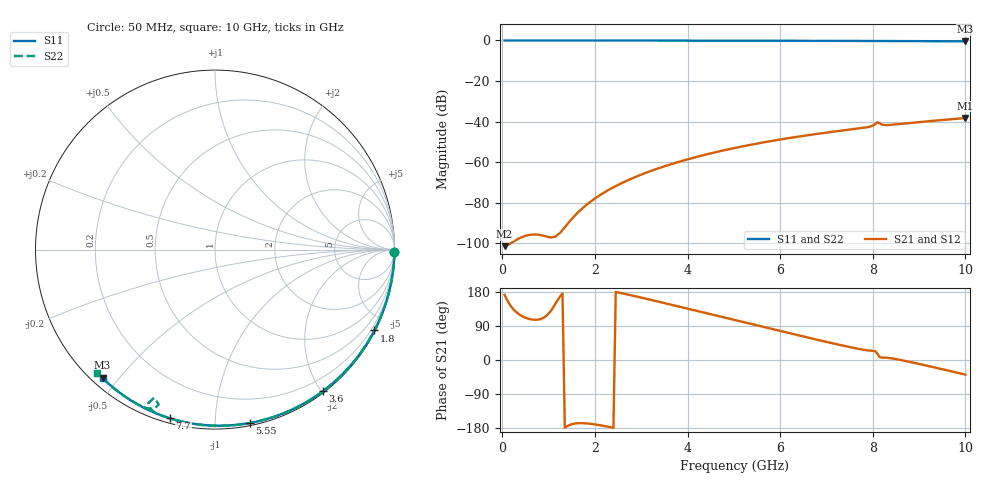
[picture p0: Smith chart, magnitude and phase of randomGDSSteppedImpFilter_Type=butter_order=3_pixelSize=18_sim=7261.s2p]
! freq	dB(S11)	phase(S11)	dB(S12)	phase(S12)
!  dB(S21)	phase(S21)	dB(S22)	phase(S22)
!S-par simulation data
#  GHz  S  DB  R 50
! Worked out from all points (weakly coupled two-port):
!   200 points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, 50 MHz to 10 GHz, reference 50 ohm
!   highest |S21| = -38.31 dB at 10 GHz (marker M1); lowest = -101.5 dB at 50 MHz (marker M2)
!   lowest |S11| = -0.4 dB at 10 GHz (marker M3), VSWR 38.95, Z = 1.55 - j22.6 ohm
!   |S11| at or under -10 dB: nowhere
!   |S22| runs from -1.0 to 0.0 dB; largest |S21 - S12| = 0
!   S11 on the Smith chart (normalised r, x): 50 MHz: open; 1.8 GHz: 0.04, -4.18; 3.6 GHz: 0.02, -2.02; 5.55 GHz: 0.02, -1.22; 7.7 GHz: 0.02, -0.77; 10 GHz: 0.03, -0.45
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0.05  -0.00 -0.8  -101.52 172.0  -101.52 172.0  -0.00 -0.8
0.9  -0.02 -13.6  -96.46 112.3  -96.46 112.3  -0.02 -13.8
1.75  -0.03 -26.2  -82.43 -166.8  -82.43 -166.8  -0.03 -26.6
1.8  -0.03 -26.9  -81.46 -167.1  -81.46 -167.1  -0.03 -27.4
1.9  -0.04 -28.4  -79.66 -168.3  -79.66 -168.3  -0.04 -28.9
2.25  -0.04 -33.5  -74.36 -175.3  -74.36 -175.3  -0.04 -34.1
2.65  -0.05 -39.2  -69.62 174.4  -69.62 174.4  -0.05 -39.9
3.4  -0.07 -49.8  -62.87 153.1  -62.87 153.1  -0.07 -50.7
3.6  -0.07 -52.6  -61.38 147.3  -61.38 147.3  -0.07 -53.6
4.3  -0.09 -62.2  -56.86 126.7  -56.86 126.7  -0.09 -63.3
5.05  -0.11 -72.1  -52.91 104.5  -52.91 104.5  -0.11 -73.4
5.55  -0.13 -78.6  -50.68 89.7  -50.68 89.7  -0.13 -80.0
6.7  -0.18 -93.0  -46.42 56.2  -46.42 56.2  -0.18 -94.7
7.7  -0.24 -104.9  -43.41 29.2  -43.41 29.2  -0.25 -107.4
7.95  -0.26 -107.9  -42.47 24.8  -42.47 24.8  -0.33 -111.3
8.05  -0.26 -109.0  -41.32 23.5  -41.32 23.5  -0.61 -113.5
8.1  -0.27 -109.6  -40.38 16.5  -40.38 16.5  -0.98 -112.3
8.15  -0.27 -110.2  -40.91 7.7  -40.91 7.7  -0.75 -110.0
8.2  -0.27 -110.8  -41.54 6.3  -41.54 6.3  -0.49 -110.7
8.35  -0.29 -112.5  -41.70 5.3  -41.70 5.3  -0.34 -113.5
9.05  -0.35 -120.6  -40.20 -11.8  -40.20 -11.8  -0.36 -122.4
10  -0.45 -131.3  -38.31 -38.5  -38.31 -38.5  -0.45 -133.7
